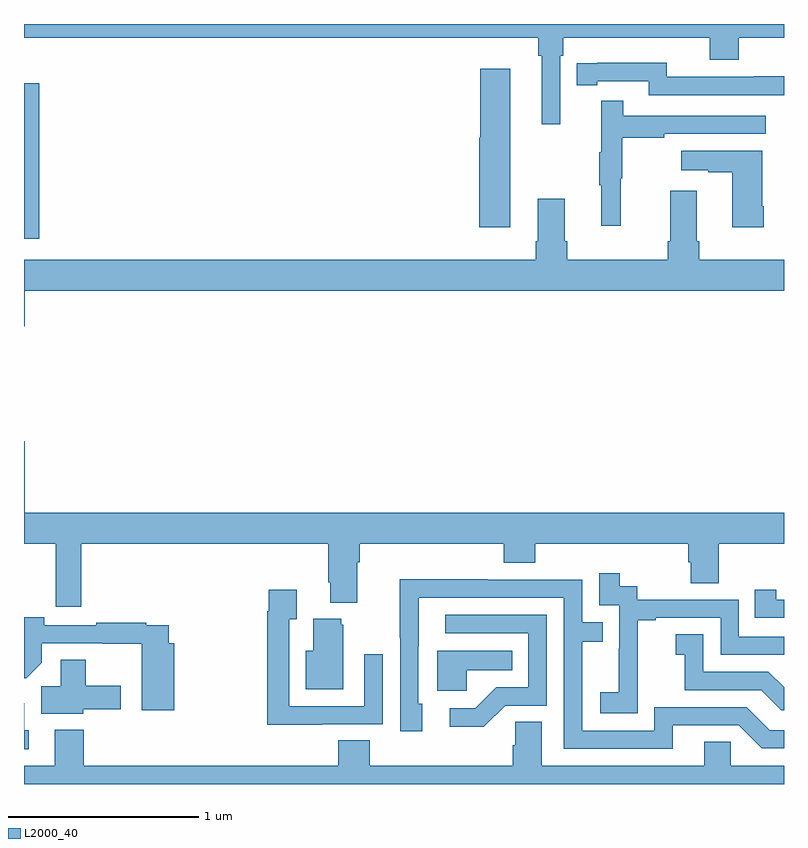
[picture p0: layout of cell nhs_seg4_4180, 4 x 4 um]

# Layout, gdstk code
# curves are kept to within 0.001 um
import gdstk
lib = gdstk.Library(unit=1e-6, precision=1e-09)
def R(c, l, rs):  # rectangles x0, y0, x1, y1
    for r in rs: c.add(gdstk.rectangle(r[:2], r[2:], *l))
def P(c, l, *ps):  # polygons
    for p in ps: c.add(gdstk.Polygon(p, *l))
L2000_40 = (2000, 40)

nhs_seg4_4180 = lib.new_cell('nhs_seg4_4180')
R(nhs_seg4_4180, L2000_40, [(333,787.77,333.08,788.587)])
P(nhs_seg4_4180, L2000_40, [(335.823,788.732),(335.837,788.732),(335.837,788.828),(336.608,788.828),(336.608,788.711),(336.761,788.711),(336.761,788.828),(337,788.828),(337,788.9),(333,788.9),(333,788.828),(335.707,788.828),(335.707,788.732),(335.726,788.732),(335.726,788.373),(335.823,788.373)],
  [(337,788.624),(336.844,788.624),(336.844,788.622),(336.384,788.622),(336.384,788.695),(336.016,788.695),(336.016,788.694),(335.908,788.694),(335.908,788.578),(336.016,788.578),(336.016,788.598),(336.288,788.598),(336.288,788.526),(337,788.526)],
  [(335.56,788.665),(335.402,788.665),(335.402,788.301),(335.396,788.301),(335.396,787.83),(335.56,787.83)],
  [(336.14,788.088),(336.148,788.088),(336.148,788.302),(336.371,788.302),(336.371,788.322),(336.904,788.322),(336.904,788.418),(336.155,788.418),(336.155,788.497),(336.038,788.497),(336.038,788.225),(336.027,788.225),(336.027,788.051),(336.038,788.051),(336.038,787.839),(336.14,787.839)],
  [(336.894,787.942),(336.886,787.942),(336.886,788.233),(336.459,788.233),(336.459,788.129),(336.602,788.129),(336.602,788.119),(336.728,788.119),(336.728,787.83),(336.894,787.83)],
  [(333.004,787.496),(337,787.496),(337,787.66),(336.554,787.66),(336.554,787.756),(336.541,787.756),(336.541,788.023),(336.401,788.023),(336.401,787.756),(336.389,787.756),(336.389,787.66),(335.858,787.66),(335.858,787.756),(335.845,787.756),(335.845,787.981),(335.705,787.981),(335.705,787.756),(335.693,787.756),(335.693,787.66),(333,787.66),(333,787.308),(333.004,787.308)],
  [(333.302,786.164),(334.601,786.164),(334.601,785.962),(334.613,785.962),(334.613,785.855),(334.753,785.855),(334.753,786.068),(334.766,786.068),(334.766,786.164),(335.525,786.164),(335.525,786.065),(335.69,786.065),(335.69,786.164),(336.497,786.164),(336.497,786.066),(336.509,786.066),(336.509,785.956),(336.657,785.956),(336.657,786.164),(337,786.164),(337,786.328),(333.004,786.328),(333.004,786.703),(333,786.703),(333,786.164),(333.166,786.164),(333.166,785.832),(333.302,785.832)],
  [(336.231,785.479),(336.23,785.479),(336.23,785.763),(336.325,785.763),(336.325,785.775),(336.666,785.775),(336.666,785.58),(337,785.58),(337,785.676),(336.762,785.676),(336.762,785.871),(336.228,785.871),(336.228,785.94),(336.136,785.94),(336.136,786.01),(336.027,786.01),(336.027,785.841),(336.132,785.841),(336.132,785.612),(336.131,785.612),(336.131,785.383),(336.033,785.383),(336.033,785.273),(336.231,785.273)],
  [(336.415,785.208),(336.762,785.208),(336.882,785.088),(337,785.088),(337,785.184),(336.924,785.184),(336.804,785.304),(336.318,785.304),(336.318,785.181),(335.937,785.181),(335.937,785.65),(336.047,785.65),(336.047,785.751),(335.937,785.751),(335.937,785.976),(335.441,785.976),(335.441,785.978),(334.978,785.978),(334.978,785.671),(334.98,785.671),(334.98,785.178),(335.095,785.178),(335.095,785.322),(335.076,785.322),(335.077,785.88),(335.841,785.88),(335.841,785.085),(336.415,785.085)],
  [(334.571,785.214),(334.887,785.214),(334.887,785.584),(334.791,785.584),(334.791,785.31),(334.395,785.31),(334.395,785.767),(334.435,785.767),(334.435,785.923),(334.287,785.923),(334.287,785.81),(334.279,785.81),(334.279,785.213),(334.571,785.213)],
  [(337,785.871),(336.958,785.871),(336.958,785.923),(336.847,785.923),(336.847,785.775),(337,785.775)],
  [(335.532,785.313),(335.751,785.313),(335.751,785.79),(335.217,785.79),(335.217,785.694),(335.655,785.694),(335.655,785.409),(335.486,785.409),(335.375,785.298),(335.241,785.298),(335.241,785.201),(335.419,785.201)],
  [(333.791,785.641),(333.761,785.641),(333.761,785.736),(333.644,785.736),(333.644,785.749),(333.379,785.749),(333.379,785.736),(333.106,785.736),(333.106,785.777),(333,785.777),(333,785.456),(333.013,785.456),(333.094,785.537),(333.094,785.64),(333.412,785.64),(333.412,785.638),(333.62,785.638),(333.62,785.289),(333.791,785.289)],
  [(334.681,785.739),(334.67,785.739),(334.67,785.77),(334.523,785.77),(334.523,785.602),(334.484,785.602),(334.484,785.399),(334.681,785.399)],
  [(337,785.408),(336.918,785.49),(336.576,785.49),(336.576,785.689),(336.429,785.689),(336.429,785.579),(336.478,785.579),(336.478,785.394),(336.881,785.394),(336.986,785.289),(337,785.289)],
  [(335.331,785.498),(335.57,785.498),(335.57,785.602),(335.174,785.602),(335.174,785.39),(335.331,785.39)],
  [(333.312,785.294),(333.508,785.294),(333.508,785.416),(333.324,785.416),(333.324,785.555),(333.194,785.555),(333.194,785.414),(333.092,785.414),(333.092,785.27),(333.312,785.27)],
  [(333.025,785.184),(333.001,785.184),(333.001,785.326),(333,785.326),(333,785.082),(333.025,785.082)],
  [(337,784.996),(336.72,784.996),(336.72,785.123),(336.581,785.123),(336.581,784.996),(335.725,784.996),(335.725,785.228),(335.586,785.228),(335.586,785.105),(335.573,785.105),(335.573,784.996),(334.82,784.996),(334.82,785.129),(334.655,785.129),(334.655,784.996),(333.314,784.996),(333.314,785.185),(333.161,785.185),(333.161,784.996),(333,784.996),(333,784.9),(337,784.9)])

lib.write_gds('nhs_seg4_4180.gds')
